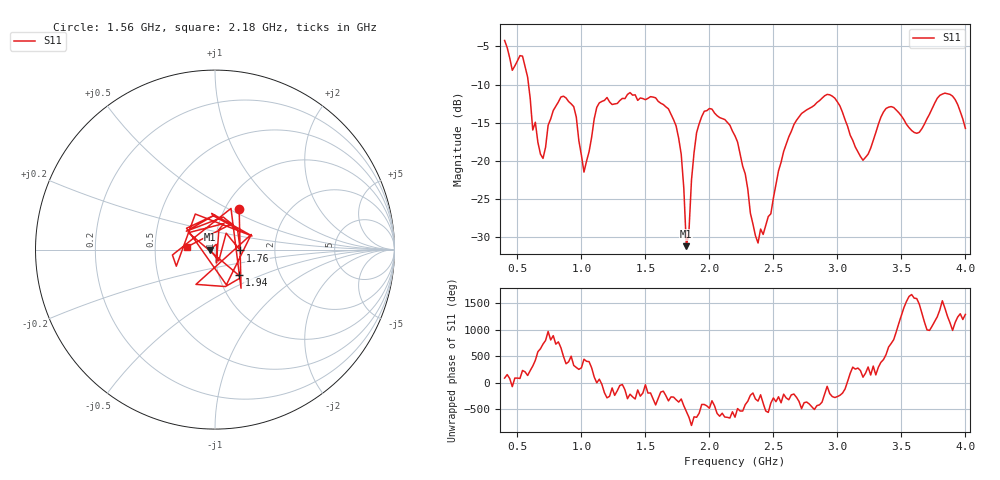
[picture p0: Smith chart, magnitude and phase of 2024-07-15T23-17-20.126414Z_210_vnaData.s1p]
!Created with skrf (http://scikit-rf.org).
# Hz S RI R 50.0
!freq ReS11 ImS11
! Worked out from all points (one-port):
!   181 points, 400 MHz to 4 GHz, reference 50 ohm
!   lowest |S11| = -31.1 dB at 1.82 GHz (marker M1), VSWR 1.06, Z = 47.3 - j0.0823 ohm
!   |S11| at or under -10 dB: 587.1 MHz to end of sweep
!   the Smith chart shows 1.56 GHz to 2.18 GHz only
!   S11 on the Smith chart (normalised r, x): 1.56 GHz: 1.16, +0.56; 1.76 GHz: 1.33, -0.01; 1.94 GHz: 1.25, -0.37; 2.18 GHz: 0.73, +0.02
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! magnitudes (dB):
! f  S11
! 400 MHz  -4.2
! 460 MHz  -8.1
! 540 MHz  -6.3
! 620 MHz  -15.9
! 700 MHz  -19.6
! 740 MHz  -15.3
! 860 MHz  -11.5
! 940 MHz  -12.9
! 1.02 GHz  -21.4
! 1.12 GHz  -13.0
! 1.3 GHz  -12.1
! 1.56 GHz  -11.6
! 1.76 GHz  -17.0
! 1.8 GHz  -23.5
! 1.82 GHz  -31.1
! 1.88 GHz  -18.9
! 1.94 GHz  -14.2
! 2.18 GHz  -16.1
! 2.2 GHz  -16.7
! 2.38 GHz  -30.7
! 2.66 GHz  -15.2
! 2.94 GHz  -11.3
! 3.1 GHz  -16.6
! 3.2 GHz  -19.9
! 3.38 GHz  -13.1
! 3.56 GHz  -15.6
! 3.84 GHz  -11.1
! 4 GHz  -15.7
